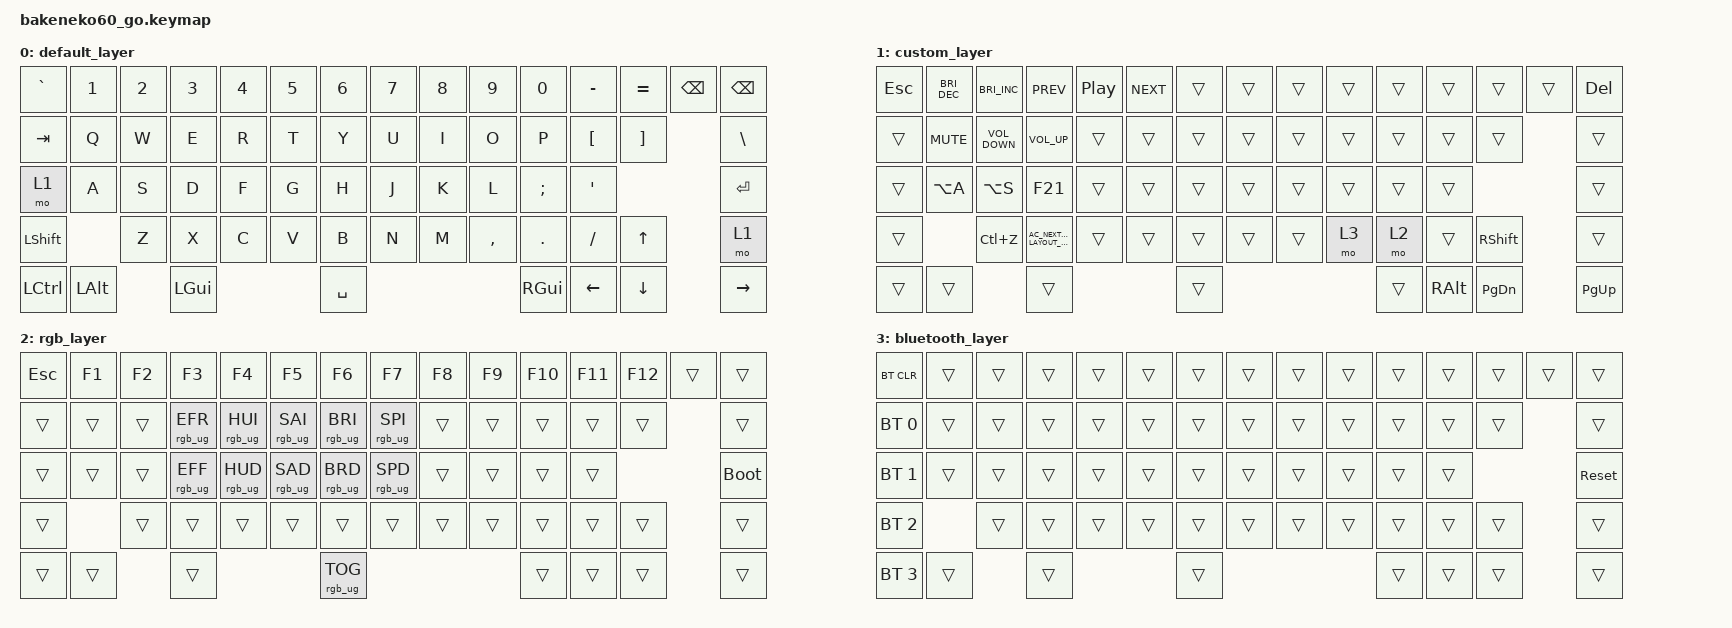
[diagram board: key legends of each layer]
/*
 * Copyright (c) 2023 Andrew Kannan
 *
 * SPDX-License-Identifier: MIT
 */

#include <behaviors.dtsi>
#include <dt-bindings/zmk/bt.h>
#include <dt-bindings/zmk/keys.h>
#include <dt-bindings/zmk/rgb.h>

/ {
    keymap {
        compatible = "zmk,keymap";

        default_layer {
            // ------------------------------------------------------------------------------------------
            // | ESC |  1  |  2  |  3  |  4  |  5  |  6  |  7  |  8  |  9  |  0  |  -  |  =  | BKSP|BKSP|
            // | TAB  |  Q  |  W  |  E  |  R  |  T  |  Y  |  U  |  I  |  O  |  P  |  [  |  ]  |   "|"   |
            // | CAPS  |  A  |  S  |  D  |  F  |  G  |  H  |  J  |  K  |  L  |  ;  |  '  |     ENTER    |
            // |  SHIFT  |  Z  |  X  |  C  |  V  |  B  |  N  |  M  |  ,  |  .  |  /  |  SHIFT  | MO(1)  |
            // |  CTL  |  WIN  |  ALT  |            SPACE              |  ALT  |  WIN  |  MO(1) |  CTL  |
            // ------------------------------------------------------------------------------------------

            bindings = <
&kp GRAVE  &kp N1        &kp N2  &kp N3        &kp N4  &kp N5  &kp N6     &kp N7  &kp N8  &kp N9     &kp N0         &kp MINUS  &kp EQUAL  &kp BSPC  &kp BSPC
&kp TAB    &kp Q         &kp W   &kp E         &kp R   &kp T   &kp Y      &kp U   &kp I   &kp O      &kp P          &kp LBKT   &kp RBKT             &kp BSLH
&mo 1      &kp A         &kp S   &kp D         &kp F   &kp G   &kp H      &kp J   &kp K   &kp L      &kp SEMI       &kp SQT                         &kp RET
&kp LSHFT                &kp Z   &kp X         &kp C   &kp V   &kp B      &kp N   &kp M   &kp COMMA  &kp DOT        &kp FSLH   &kp UP               &mo 1
&kp LCTRL  &kp LEFT_ALT          &kp LEFT_GUI                  &kp SPACE                             &kp RIGHT_GUI  &kp LEFT   &kp DOWN             &kp RIGHT
            >;
        };

        custom_layer {
            bindings = <
&kp ESC  &kp C_BRIGHTNESS_DEC  &kp C_BRIGHTNESS_INC  &kp C_PREV                            &kp C_PLAY_PAUSE  &kp C_NEXT  &trans  &trans  &trans  &trans  &trans  &trans         &trans           &trans  &kp DEL
&trans   &kp C_MUTE            &kp C_VOLUME_DOWN     &kp C_VOLUME_UP                       &trans            &trans      &trans  &trans  &trans  &trans  &trans  &trans         &trans                   &trans
&trans   &kp LA(A)             &kp LA(S)             &kp F21                               &trans            &trans      &trans  &trans  &trans  &trans  &trans  &trans                                  &trans
&trans                         &kp LC(Z)             &kp C_AC_NEXT_KEYBOARD_LAYOUT_SELECT  &trans            &trans      &trans  &trans  &trans  &mo 3   &mo 2   &trans         &kp RIGHT_SHIFT          &trans
&trans   &trans                                      &trans                                                              &trans                          &trans  &kp RIGHT_ALT  &kp PAGE_DOWN            &kp PAGE_UP
            >;
        };

        rgb_layer {
            // ------------------------------------------------------------------------------------------------
            // |    `   | F1  | F2  | F3  | F4  | F5  | F6  | F7  | F8  | F9  | F10  | F11 | F12 |     | DEL  |
            // | EFCT REV|   |  UP |   | HUEUP | SATUP | BRIUP | SPDUP |      |  PGUP |    |     |    |       |
            // | EFCT FWD | LT |  DN  | RT | HUEDN | SATDN | BRIDN | SPDDN | HOME | PGDN | END  |  | BOOTLDR  |
            // |             |     |      |      |     |     |     |     |     |     |     |         |        |
            // |         |      |      |             TOG RGB                | PRT SCR |       |       |  MO(2)|
            // ------------------------------------------------------------------------------------------------

            bindings = <
&kp ESC  &kp F1  &kp F2  &kp F3           &kp F4           &kp F5           &kp F6           &kp F7           &kp F8  &kp F9  &kp F10  &kp F11  &kp F12  &trans  &trans
&trans   &trans  &trans  &rgb_ug RGB_EFR  &rgb_ug RGB_HUI  &rgb_ug RGB_SAI  &rgb_ug RGB_BRI  &rgb_ug RGB_SPI  &trans  &trans  &trans   &trans   &trans           &trans
&trans   &trans  &trans  &rgb_ug RGB_EFF  &rgb_ug RGB_HUD  &rgb_ug RGB_SAD  &rgb_ug RGB_BRD  &rgb_ug RGB_SPD  &trans  &trans  &trans   &trans                    &bootloader
&trans           &trans  &trans           &trans           &trans           &trans           &trans           &trans  &trans  &trans   &trans   &trans           &trans
&trans   &trans          &trans                                             &rgb_ug RGB_TOG                                   &trans   &trans   &trans           &trans
            >;
        };

        bluetooth_layer {
            // ------------------------------------------------------------------------------------------------
            // | BT CLR |     |     |     |     |     |     |     |     |     |     |    |    |       |       |
            // |  BT 1   |   |     |   |       |       |       |       |   |     |    |     |     |           |
            // |   BT 2   |    |      |    |       |       |       |       |      |      |      |  |   Reset  |
            // |    BT 3     |     |      |      |     |     |     |     |     |     |     |         |        |
            // |   BT 4  |      |      |                                    |         |       |       |       |
            // ------------------------------------------------------------------------------------------------

            bindings = <
&bt BT_CLR    &trans  &trans  &trans  &trans  &trans  &trans  &trans  &trans  &trans  &trans  &trans  &trans  &trans  &trans
&bt BT_SEL 0  &trans  &trans  &trans  &trans  &trans  &trans  &trans  &trans  &trans  &trans  &trans  &trans          &trans
&bt BT_SEL 1  &trans  &trans  &trans  &trans  &trans  &trans  &trans  &trans  &trans  &trans  &trans                  &sys_reset
&bt BT_SEL 2          &trans  &trans  &trans  &trans  &trans  &trans  &trans  &trans  &trans  &trans  &trans          &trans
&bt BT_SEL 3  &trans          &trans                  &trans                          &trans  &trans  &trans          &trans
            >;
        };
    };

    combos {
        compatible = "zmk,combos";

        combo_rgb_custom {
            bindings = <&mo 2>;
            key-positions = <54 51>;
            timeout-ms = <50>;
        };

        combo_bt_custom {
            bindings = <&mo 3>;
            key-positions = <54 50>;
            timeout-ms = <50>;
        };
    };
};
